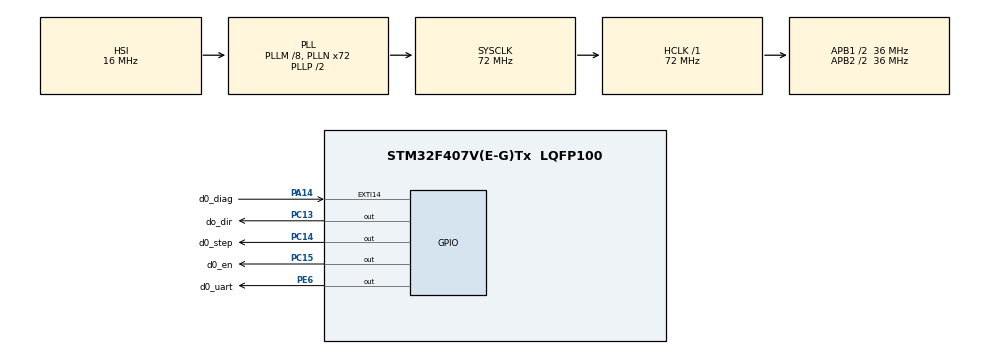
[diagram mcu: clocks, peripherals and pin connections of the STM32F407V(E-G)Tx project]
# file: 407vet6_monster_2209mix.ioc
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Mcu.Family=STM32F4
Mcu.Name=STM32F407V(E-G)Tx
Mcu.Package=LQFP100
NVIC.EXTI15_10_IRQn=true\:0\:0\:false\:false\:true\:true\:true\:true
NVIC.PriorityGroup=NVIC_PRIORITYGROUP_4
NVIC.TIM5_IRQn=true\:0\:0\:false\:false\:true\:true\:true\:true
NVIC.TIM6_DAC_IRQn=true\:0\:0\:false\:false\:true\:true\:true\:true
PA14.GPIO_Label=d0_diag
PA14.GPIO_PuPd=GPIO_PULLDOWN
PA14.Signal=GPXTI14
PC13-ANTI_TAMP.GPIO_Label=do_dir
PC13-ANTI_TAMP.Signal=GPIO_Output
PC14-OSC32_IN.GPIO_Label=d0_step
PC14-OSC32_IN.Signal=GPIO_Output
PC15-OSC32_OUT.GPIO_Label=d0_en
PC15-OSC32_OUT.Signal=GPIO_Output
PE6.GPIO_Label=d0_uart
PE6.GPIO_Speed=GPIO_SPEED_FREQ_VERY_HIGH
PE6.PinState=GPIO_PIN_SET
PE6.Signal=GPIO_Output
ProjectManager.HeapSize=0x200
ProjectManager.StackSize=0x400
ProjectManager.TargetToolchain=STM32CubeIDE
RCC.48MHZClocksFreq_Value=36000000
RCC.AHBFreq_Value=72000000
RCC.APB1CLKDivider=RCC_HCLK_DIV2
RCC.APB1Freq_Value=36000000
RCC.APB1TimFreq_Value=72000000
RCC.APB2CLKDivider=RCC_HCLK_DIV2
RCC.APB2Freq_Value=36000000
RCC.APB2TimFreq_Value=72000000
RCC.CortexFreq_Value=72000000
RCC.HCLKFreq_Value=72000000
RCC.HSE_VALUE=25000000
RCC.HSI_VALUE=16000000
RCC.LSE_VALUE=32768
RCC.PLLM=8
RCC.PLLN=72
RCC.SYSCLKFreq_VALUE=72000000
RCC.SYSCLKSource=RCC_SYSCLKSOURCE_PLLCLK
RCC.VCOOutputFreq_Value=144000000
TIM5.AutoReloadPreload=TIM_AUTORELOAD_PRELOAD_ENABLE
TIM5.Period=10-1
TIM5.Prescaler=75-1
TIM6.AutoReloadPreload=TIM_AUTORELOAD_PRELOAD_ENABLE
TIM6.Period=100-1
TIM6.Prescaler=72-1
VP_TIM5_VS_ClockSourceINT.Mode=Internal
VP_TIM6_VS_ClockSourceINT.Mode=Enable_Timer
board=custom

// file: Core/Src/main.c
/* USER CODE BEGIN Header */
/**
 ******************************************************************************
 * @file           : main.c
 * @brief          : Main program body
 ******************************************************************************
 * @attention
 *
 * Copyright (c) 2024 STMicroelectronics.
 * All rights reserved.
 *
 * This software is licensed under terms that can be found in the LICENSE file
 * in the root directory of this software component.
 * If no LICENSE file comes with this software, it is provided AS-IS.
 *
 ******************************************************************************
 */
/* USER CODE END Header */
#include "main.h"

/* USER CODE BEGIN Includes */
#include "softuart.h"
#include "tmc2209_stm32.h"
/* USER CODE END Includes */

TIM_HandleTypeDef htim5;
TIM_HandleTypeDef htim6;

void SystemClock_Config(void);
static void MX_GPIO_Init(void);
static void MX_TIM5_Init(void);
static void MX_TIM6_Init(void);

/* USER CODE BEGIN 0 */

// 定时器中断
void HAL_TIM_PeriodElapsedCallback(TIM_HandleTypeDef *htim) {
	// 软件串口
	if (htim->Instance == TIM5) {
		SoftUartHandler();
	}
	// 脉冲驱动
	if (htim->Instance == TIM6) {
		TMC2209_stepHandler();
	}
}

// 外部中断
void HAL_GPIO_EXTI_Callback(uint16_t GPIO_Pin) {
	if (GPIO_Pin == GPIO_PIN_14) {
		// 堵转检测
		HAL_GPIO_WritePin(GPIOC, GPIO_PIN_15, GPIO_PIN_SET);
	}
}

/* USER CODE END 0 */

int main(void)
{

  /* MCU Configuration--------------------------------------------------------*/

  /* Reset of all peripherals, Initializes the Flash interface and the Systick. */
  HAL_Init();

  /* Configure the system clock */
  SystemClock_Config();

  /* Initialize all configured peripherals */
  MX_GPIO_Init();
  MX_TIM5_Init();
  MX_TIM6_Init();
  /* USER CODE BEGIN 2 */

	// 启动串口定时器
	if (HAL_TIM_Base_Start_IT(&htim5) != HAL_OK) {
		Error_Handler();
	}
	// 启动脉冲定时器
	if (HAL_TIM_Base_Start_IT(&htim6) != HAL_OK) {
		Error_Handler();
	}

	// 初始化电机组
	motors_setup();

  /* USER CODE END 2 */

  /* Infinite loop */
	while (1) {

		// 脉冲驱动
		TMC2209_startStepperMotor(0, 400 * 1, 100, 1);
		HAL_Delay(1000);

//		// 串口驱动
//		TMC2209_moveAtVelocity(0,500);
//		HAL_Delay(1000);
//		// 串口停转
//		uint8_t msg_init[8] ={ 0x05, 0x00, 0xA2, 0x00, 0x00, 0x00, 0x00, 0x0E };
//		TMC2209_sendRawMessage(0, msg_init, sizeof(msg_init));
//		HAL_Delay(1000);

	}
}

void SystemClock_Config(void)
{
  RCC_OscInitTypeDef RCC_OscInitStruct = {0};
  RCC_ClkInitTypeDef RCC_ClkInitStruct = {0};

  /** Configure the main internal regulator output voltage
  */
  __HAL_RCC_PWR_CLK_ENABLE();
  __HAL_PWR_VOLTAGESCALING_CONFIG(PWR_REGULATOR_VOLTAGE_SCALE1);

  /** Initializes the RCC Oscillators according to the specified parameters
  * in the RCC_OscInitTypeDef structure.
  */
  RCC_OscInitStruct.OscillatorType = RCC_OSCILLATORTYPE_HSI;
  RCC_OscInitStruct.HSIState = RCC_HSI_ON;
  RCC_OscInitStruct.HSICalibrationValue = RCC_HSICALIBRATION_DEFAULT;
  RCC_OscInitStruct.PLL.PLLState = RCC_PLL_ON;
  RCC_OscInitStruct.PLL.PLLSource = RCC_PLLSOURCE_HSI;
  RCC_OscInitStruct.PLL.PLLM = 8;
  RCC_OscInitStruct.PLL.PLLN = 72;
  RCC_OscInitStruct.PLL.PLLP = RCC_PLLP_DIV2;
  RCC_OscInitStruct.PLL.PLLQ = 4;
  if (HAL_RCC_OscConfig(&RCC_OscInitStruct) != HAL_OK)
  {
    Error_Handler();
  }

  /** Initializes the CPU, AHB and APB buses clocks
  */
  RCC_ClkInitStruct.ClockType = RCC_CLOCKTYPE_HCLK|RCC_CLOCKTYPE_SYSCLK
                              |RCC_CLOCKTYPE_PCLK1|RCC_CLOCKTYPE_PCLK2;
  RCC_ClkInitStruct.SYSCLKSource = RCC_SYSCLKSOURCE_PLLCLK;
  RCC_ClkInitStruct.AHBCLKDivider = RCC_SYSCLK_DIV1;
  RCC_ClkInitStruct.APB1CLKDivider = RCC_HCLK_DIV2;
  RCC_ClkInitStruct.APB2CLKDivider = RCC_HCLK_DIV2;

  if (HAL_RCC_ClockConfig(&RCC_ClkInitStruct, FLASH_LATENCY_2) != HAL_OK)
  {
    Error_Handler();
  }
}

static void MX_TIM5_Init(void)
{

  TIM_ClockConfigTypeDef sClockSourceConfig = {0};
  TIM_MasterConfigTypeDef sMasterConfig = {0};

  htim5.Instance = TIM5;
  htim5.Init.Prescaler = 75-1;
  htim5.Init.CounterMode = TIM_COUNTERMODE_UP;
  htim5.Init.Period = 10-1;
  htim5.Init.ClockDivision = TIM_CLOCKDIVISION_DIV1;
  htim5.Init.AutoReloadPreload = TIM_AUTORELOAD_PRELOAD_ENABLE;
  if (HAL_TIM_Base_Init(&htim5) != HAL_OK)
  {
    Error_Handler();
  }
  sClockSourceConfig.ClockSource = TIM_CLOCKSOURCE_INTERNAL;
  if (HAL_TIM_ConfigClockSource(&htim5, &sClockSourceConfig) != HAL_OK)
  {
    Error_Handler();
  }
  sMasterConfig.MasterOutputTrigger = TIM_TRGO_RESET;
  sMasterConfig.MasterSlaveMode = TIM_MASTERSLAVEMODE_DISABLE;
  if (HAL_TIMEx_MasterConfigSynchronization(&htim5, &sMasterConfig) != HAL_OK)
  {
    Error_Handler();
  }

}

static void MX_TIM6_Init(void)
{

  TIM_MasterConfigTypeDef sMasterConfig = {0};

  htim6.Instance = TIM6;
  htim6.Init.Prescaler = 72-1;
  htim6.Init.CounterMode = TIM_COUNTERMODE_UP;
  htim6.Init.Period = 100-1;
  htim6.Init.AutoReloadPreload = TIM_AUTORELOAD_PRELOAD_ENABLE;
  if (HAL_TIM_Base_Init(&htim6) != HAL_OK)
  {
    Error_Handler();
  }
  sMasterConfig.MasterOutputTrigger = TIM_TRGO_RESET;
  sMasterConfig.MasterSlaveMode = TIM_MASTERSLAVEMODE_DISABLE;
  if (HAL_TIMEx_MasterConfigSynchronization(&htim6, &sMasterConfig) != HAL_OK)
  {
    Error_Handler();
  }

}

static void MX_GPIO_Init(void)
{
  GPIO_InitTypeDef GPIO_InitStruct = {0};

  /* GPIO Ports Clock Enable */
  __HAL_RCC_GPIOE_CLK_ENABLE();
  __HAL_RCC_GPIOC_CLK_ENABLE();
  __HAL_RCC_GPIOA_CLK_ENABLE();

  /*Configure GPIO pin Output Level */
  HAL_GPIO_WritePin(d0_uart_GPIO_Port, d0_uart_Pin, GPIO_PIN_SET);

  /*Configure GPIO pin Output Level */
  HAL_GPIO_WritePin(GPIOC, do_dir_Pin|d0_step_Pin|d0_en_Pin, GPIO_PIN_RESET);

  /*Configure GPIO pin : d0_uart_Pin */
  GPIO_InitStruct.Pin = d0_uart_Pin;
  GPIO_InitStruct.Mode = GPIO_MODE_OUTPUT_PP;
  GPIO_InitStruct.Pull = GPIO_NOPULL;
  GPIO_InitStruct.Speed = GPIO_SPEED_FREQ_VERY_HIGH;
  HAL_GPIO_Init(d0_uart_GPIO_Port, &GPIO_InitStruct);

  /*Configure GPIO pins : do_dir_Pin d0_step_Pin d0_en_Pin */
  GPIO_InitStruct.Pin = do_dir_Pin|d0_step_Pin|d0_en_Pin;
  GPIO_InitStruct.Mode = GPIO_MODE_OUTPUT_PP;
  GPIO_InitStruct.Pull = GPIO_NOPULL;
  GPIO_InitStruct.Speed = GPIO_SPEED_FREQ_LOW;
  HAL_GPIO_Init(GPIOC, &GPIO_InitStruct);

  /*Configure GPIO pin : d0_diag_Pin */
  GPIO_InitStruct.Pin = d0_diag_Pin;
  GPIO_InitStruct.Mode = GPIO_MODE_IT_RISING;
  GPIO_InitStruct.Pull = GPIO_PULLDOWN;
  HAL_GPIO_Init(d0_diag_GPIO_Port, &GPIO_InitStruct);

  /* EXTI interrupt init*/
  HAL_NVIC_SetPriority(EXTI15_10_IRQn, 0, 0);
  HAL_NVIC_EnableIRQ(EXTI15_10_IRQn);

}

void Error_Handler(void)
{
	__disable_irq();
	while (1) {
	}
}
